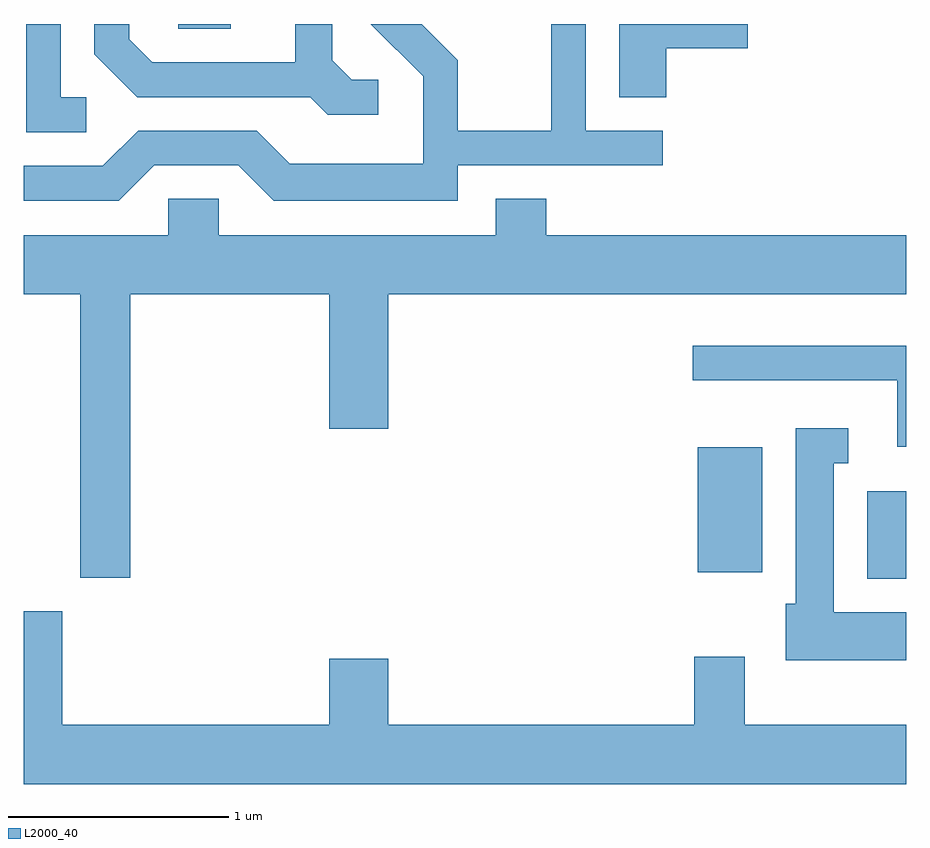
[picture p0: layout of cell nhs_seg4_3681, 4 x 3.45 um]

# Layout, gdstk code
import gdstk
lib = gdstk.Library(unit=1e-6, precision=1e-09)
def R(c, l, rs):  # rectangles x0, y0, x1, y1
    for r in rs: c.add(gdstk.rectangle(r[:2], r[2:], *l))
def P(c, l, *ps):  # polygons
    for p in ps: c.add(gdstk.Polygon(p, *l))
L2000_40 = (2000, 40)

nhs_seg4_3681 = lib.new_cell('nhs_seg4_3681')
R(nhs_seg4_3681, L2000_40, [(297.436,1273.466,297.611,1273.864), (296.666,1273.496,296.959,1274.064), (294.311,1275.961,294.549,1275.982)])
P(nhs_seg4_3681, L2000_40, [(294.202,1275.341),(294.584,1275.341),(294.744,1275.181),(295.579,1275.181),(295.579,1275.341),(296.508,1275.341),(296.508,1275.499),(296.159,1275.499),(296.159,1275.982),(296.001,1275.982),(296.001,1275.499),(295.579,1275.499),(295.579,1275.817),(295.414,1275.982),(295.183,1275.982),(295.421,1275.744),(295.421,1275.349),(294.817,1275.349),(294.667,1275.499),(294.129,1275.499),(293.969,1275.339),(293.611,1275.339),(293.611,1275.181),(294.042,1275.181)],
  [(295.218,1275.729),(295.097,1275.729),(295.009,1275.817),(295.009,1275.982),(294.841,1275.982),(294.841,1275.809),(294.192,1275.809),(294.089,1275.912),(294.089,1275.982),(293.931,1275.982),(293.931,1275.844),(294.124,1275.651),(294.909,1275.651),(294.989,1275.571),(295.218,1275.571)],
  [(296.524,1275.871),(296.894,1275.871),(296.894,1275.982),(296.311,1275.982),(296.311,1275.651),(296.524,1275.651)],
  [(293.893,1275.649),(293.779,1275.649),(293.779,1275.982),(293.621,1275.982),(293.621,1275.491),(293.893,1275.491)],
  [(294.094,1274.756),(294.996,1274.756),(294.996,1274.146),(295.264,1274.146),(295.264,1274.756),(297.611,1274.756),(297.611,1275.024),(295.979,1275.024),(295.979,1275.189),(295.751,1275.189),(295.751,1275.024),(294.494,1275.024),(294.494,1275.189),(294.266,1275.189),(294.266,1275.024),(293.611,1275.024),(293.611,1274.756),(293.866,1274.756),(293.866,1273.471),(294.094,1273.471)],
  [(297.611,1274.524),(296.643,1274.524),(296.643,1274.366),(297.571,1274.366),(297.571,1274.066),(297.611,1274.066)],
  [(297.611,1273.314),(297.284,1273.314),(297.284,1273.991),(297.348,1273.991),(297.348,1274.149),(297.111,1274.149),(297.111,1273.354),(297.066,1273.354),(297.066,1273.096),(297.611,1273.096)],
  [(297.611,1272.804),(296.879,1272.804),(296.879,1273.114),(296.651,1273.114),(296.651,1272.804),(295.264,1272.804),(295.264,1273.104),(294.996,1273.104),(294.996,1272.804),(293.784,1272.804),(293.784,1273.319),(293.611,1273.319),(293.611,1272.536),(297.611,1272.536)])

lib.write_gds('nhs_seg4_3681.gds')
